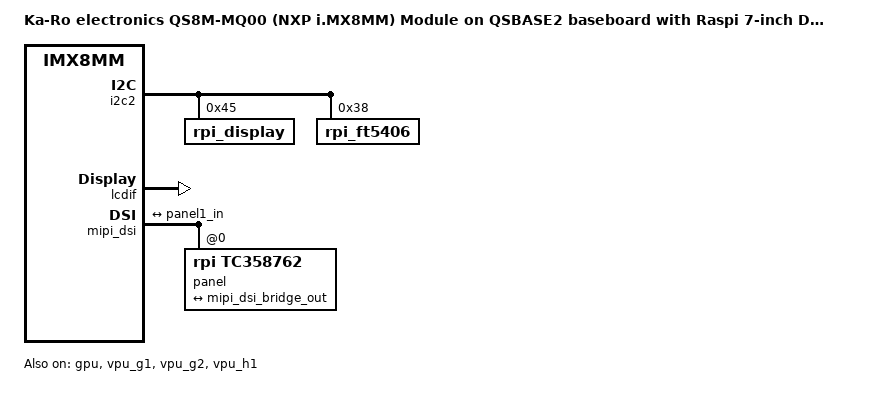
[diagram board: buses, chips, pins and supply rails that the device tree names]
// SPDX-License-Identifier: (GPL-2.0 OR MIT)
/*
 * Copyright (C) 2019 Markus Bauer <MB@KARO-electronics.de>
 *
 */

/dts-v1/;

#include "imx8mm-qs8m-mq00-qsbase2.dts"

/ {
	model = "Ka-Ro electronics QS8M-MQ00 (NXP i.MX8MM) Module on QSBASE2 baseboard with Raspi 7-inch Display";
};

&gpu {
	status = "okay";
};

&i2c2 {
	rpi_display: rpi_display@45 {
		compatible = "rpi_display";
		reg = <0x45>;
	};

	rpi_ft5406: rpi_ft5406@38 {
		compatible = "rpi_ft5406";
		reg = <0x38>;
	};
};

&lcdif {
        status = "okay";
};

&mipi_dsi {
	status = "okay";

	panel@0 {
		compatible = "rpi,tc358762";
		reg = <0>;
		dsi-lanes = <1>;
		video-mode = <2>;
		panel-width-mm = <154>;
		panel-height-mm = <86>;

		port {
			panel1_in: endpoint {
				remote-endpoint = <&mipi_dsi_bridge_out>;
			};
		};
	};

	port@1 {
		mipi_dsi_bridge_out: endpoint {
			remote-endpoint = <&panel1_in>;
		};
	};
};

&vpu_g1 {
	status = "okay";
};

&vpu_g2 {
	status = "okay";
};

&vpu_h1 {
	status = "okay";
};
